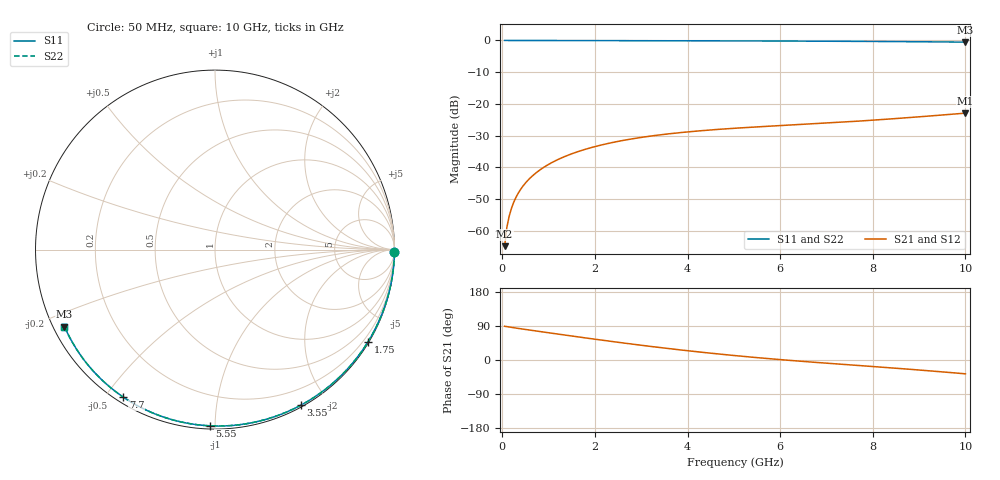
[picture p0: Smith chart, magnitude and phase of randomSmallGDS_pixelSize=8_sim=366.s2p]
! freq	dB(S11)	phase(S11)	dB(S12)	phase(S12)
!  dB(S21)	phase(S21)	dB(S22)	phase(S22)
!S-par simulation data
#  GHz  S  DB  R 50
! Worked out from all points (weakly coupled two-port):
!   200 points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, 50 MHz to 10 GHz, reference 50 ohm
!   highest |S21| = -22.89 dB at 10 GHz (marker M1); lowest = -64.8 dB at 50 MHz (marker M2)
!   lowest |S11| = -0.5 dB at 10 GHz (marker M3), VSWR 33.42, Z = 1.58 - j12 ohm
!   |S11| at or under -10 dB: nowhere
!   |S22| runs from -0.5 to 0.0 dB; largest |S21 - S12| = 0
!   S11 on the Smith chart (normalised r, x): 50 MHz: open; 1.75 GHz: 0.03, -3.60; 3.55 GHz: 0.02, -1.69; 5.55 GHz: 0.02, -0.97; 7.7 GHz: 0.02, -0.56; 10 GHz: 0.03, -0.24
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0.05  -0.00 -0.9  -64.77 89.0  -64.77 89.0  -0.00 -0.9
0.1  -0.00 -1.8  -58.76 88.0  -58.76 88.0  -0.00 -1.8
0.15  -0.00 -2.7  -55.25 87.0  -55.25 87.0  -0.00 -2.7
0.2  -0.00 -3.6  -52.76 86.0  -52.76 86.0  -0.00 -3.6
0.25  -0.00 -4.5  -50.84 85.1  -50.84 85.1  -0.00 -4.5
0.35  -0.00 -6.3  -47.94 83.3  -47.94 83.3  -0.00 -6.3
0.5  -0.01 -9.0  -44.89 80.6  -44.89 80.6  -0.01 -9.0
0.7  -0.01 -12.6  -42.02 77.1  -42.02 77.1  -0.01 -12.6
1  -0.02 -17.9  -39.02 71.9  -39.02 71.9  -0.02 -17.9
1.35  -0.03 -24.0  -36.53 65.8  -36.53 65.8  -0.03 -24.0
1.75  -0.04 -31.0  -34.45 59.0  -34.45 59.0  -0.04 -31.0
2.5  -0.06 -43.8  -31.77 46.7  -31.77 46.7  -0.06 -43.8
3.4  -0.08 -58.7  -29.73 32.9  -29.73 32.9  -0.08 -58.7
3.55  -0.09 -61.1  -29.47 30.8  -29.47 30.8  -0.09 -61.1
4.3  -0.11 -73.0  -28.41 20.5  -28.41 20.5  -0.11 -73.0
5.05  -0.14 -84.4  -27.61 11.3  -27.61 11.3  -0.14 -84.4
5.55  -0.16 -91.8  -27.17 5.7  -27.17 5.7  -0.16 -91.8
6.7  -0.22 -108.2  -26.25 -5.7  -26.25 -5.7  -0.22 -108.2
7.7  -0.28 -121.9  -25.39 -14.6  -25.39 -14.6  -0.28 -121.9
8.35  -0.34 -130.7  -24.75 -20.3  -24.75 -20.3  -0.34 -130.7
9.2  -0.42 -142.1  -23.82 -28.3  -23.82 -28.3  -0.42 -142.1
10  -0.52 -152.9  -22.89 -36.5  -22.89 -36.5  -0.52 -152.9
